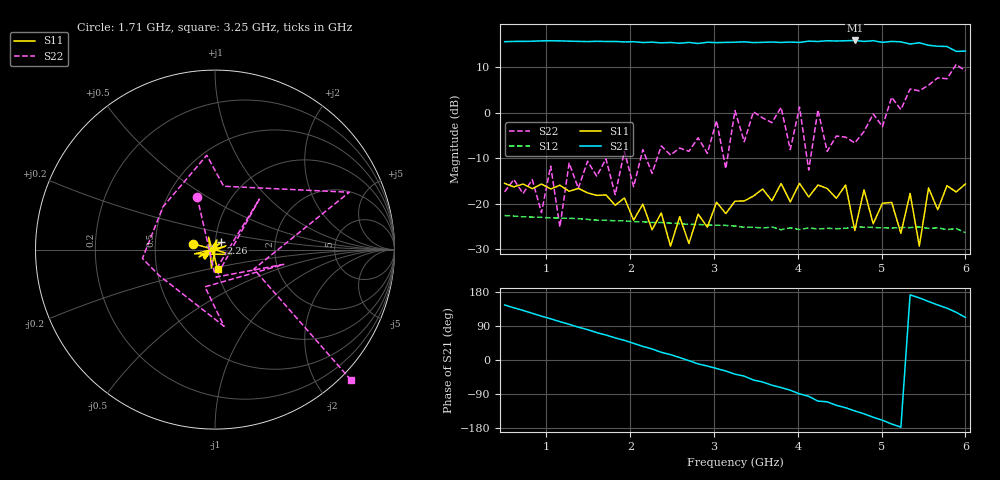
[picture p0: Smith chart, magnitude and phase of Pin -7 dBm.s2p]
! RsaToolbox (C) 2015 Rohde & Schwarz America
! Number of points: 51
! Number of ports: 2
! Balanced ports?: No
# Hz S RI R 50
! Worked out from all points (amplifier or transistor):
!   51 points, 500 MHz to 6 GHz, reference 50 ohm
!   highest |S21| = 15.8 dB at 4.68 GHz (marker M1)
!   |S21| within 3 dB of that: start of sweep to end of sweep
!   unconditionally stable (mu >= 1): start of sweep to 3.005 GHz; 3.046 GHz to 3.218 GHz; 4.289 GHz to 4.797 GHz (the widest 3 of 6)
!   at 1.38 GHz: K = 1.35, MAG = 15.9 dB, |S12| = -23.3 dB
!   at 3.25 GHz: K = 0.08, MSG = 20.2 dB, |S12| = -24.9 dB
!   at 6 GHz: K = -15.18, MSG = 19.9 dB, |S12| = -26.4 dB
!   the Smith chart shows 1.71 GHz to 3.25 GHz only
!   S11 on the Smith chart (normalised r, x): 1.71 GHz: 0.78, +0.05; 2.26 GHz: 1.06, +0.08; 3.25 GHz: 1.01, -0.21
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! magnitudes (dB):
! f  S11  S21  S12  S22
! 500 MHz  -15.6  15.6  -22.6  -17.4
! 940 MHz  -15.7  15.7  -23.0  -22.0
! 1.05 GHz  -16.8  15.8  -23.1  -11.8
! 1.16 GHz  -16.0  15.7  -23.2  -25.1
! 1.27 GHz  -17.3  15.7  -23.2  -11.1
! 1.49 GHz  -17.6  15.6  -23.5  -10.7
! 1.71 GHz  -18.1  15.6  -23.7  -10.2
! 2.26 GHz  -25.8  15.5  -24.2  -13.4
! 2.37 GHz  -22.0  15.3  -24.1  -7.3
! 3.03 GHz  -19.7  15.4  -24.8  -1.8
! 3.14 GHz  -22.2  15.4  -24.8  -12.3
! 3.25 GHz  -19.5  15.4  -24.9  0.4
! 3.91 GHz  -19.6  15.5  -25.3  -8.1
! 4.02 GHz  -15.5  15.4  -25.7  1.2
! 4.13 GHz  -18.6  15.7  -25.3  -12.6
! 4.24 GHz  -15.9  15.6  -25.6  0.6
! 4.68 GHz  -25.9  15.8  -25.1  -6.7
! 5.12 GHz  -19.7  15.6  -25.4  3.4
! 5.34 GHz  -17.8  15.0  -25.3  5.2
! 5.45 GHz  -29.3  15.3  -25.1  4.8
! 5.56 GHz  -16.6  14.8  -25.5  6.0
! 6 GHz  -15.7  13.5  -26.4  9.2
